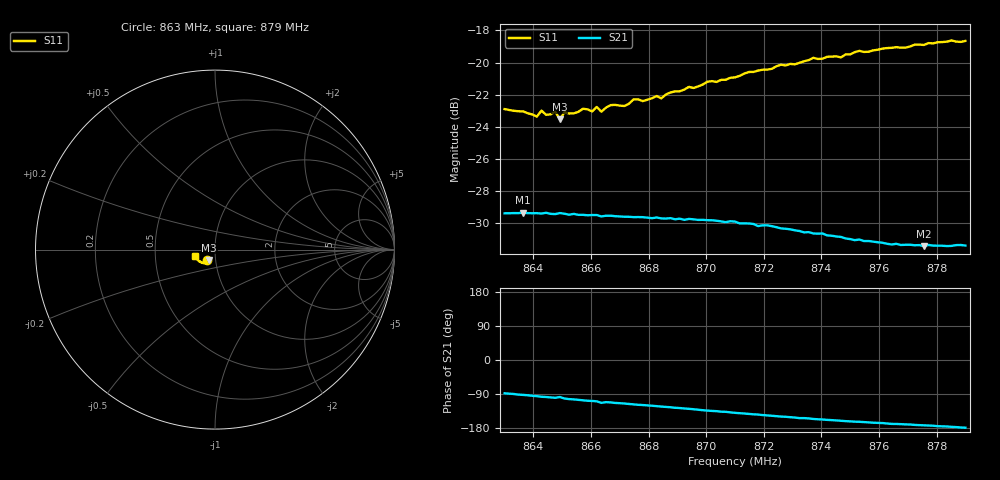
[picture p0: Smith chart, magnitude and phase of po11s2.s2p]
# HZ S RI R 50
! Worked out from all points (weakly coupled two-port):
!   101 points, 863 MHz to 879 MHz, reference 50 ohm
!   highest |S21| = -29.34 dB at 863.64 MHz (marker M1); lowest = -31.4 dB at 877.56 MHz (marker M2)
!   lowest |S11| = -23.5 dB at 864.92 MHz (marker M3), VSWR 1.14, Z = 46.6 - j5.47 ohm
!   |S11| at or under -10 dB: start of sweep to end of sweep
!   S12 and S22 are empty: the file has one direction only
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8.63e8  -0.0427 -0.0575  0.00132 -0.0339  0 0  0 0
8.6364e8  -0.0407 -0.0575  -0.00124 -0.0341  0 0  0 0
8.6412e8  -0.0373 -0.0567  -0.00323 -0.0338  0 0  0 0
8.6428e8  -0.0384 -0.0595  -0.00412 -0.0336  0 0  0 0
8.6444e8  -0.0361 -0.0585  -0.00453 -0.0337  0 0  0 0
8.6476e8  -0.0374 -0.0595  -0.00569 -0.0333  0 0  0 0
8.6492e8  -0.0319 -0.0584  -0.00454 -0.0337  0 0  0 0
8.6508e8  -0.0355 -0.0604  -0.00686 -0.0331  0 0  0 0
8.6572e8  -0.0362 -0.062  -0.00946 -0.0322  0 0  0 0
8.6604e8  -0.0349 -0.0612  -0.0104 -0.0319  0 0  0 0
8.662e8  -0.0371 -0.0625  -0.0109 -0.0317  0 0  0 0
8.6636e8  -0.0332 -0.0619  -0.013 -0.0305  0 0  0 0
8.6668e8  -0.0357 -0.0644  -0.0125 -0.0309  0 0  0 0
8.6716e8  -0.0352 -0.0642  -0.0139 -0.03  0 0  0 0
8.6748e8  -0.0366 -0.0675  -0.015 -0.0294  0 0  0 0
8.6844e8  -0.0379 -0.0674  -0.0178 -0.0275  0 0  0 0
8.694e8  -0.0425 -0.0724  -0.0204 -0.0254  0 0  0 0
8.71e8  -0.0503 -0.0745  -0.0243 -0.0208  0 0  0 0
8.7372e8  -0.0717 -0.0746  -0.0267 -0.0121  0 0  0 0
8.7644e8  -0.0933 -0.0602  -0.0266 -0.00534  0 0  0 0
8.7756e8  -0.1013 -0.0511  -0.0266 -0.00352  0 0  0 0
8.79e8  -0.1105 -0.0375  -0.0269 -0.000631  0 0  0 0
